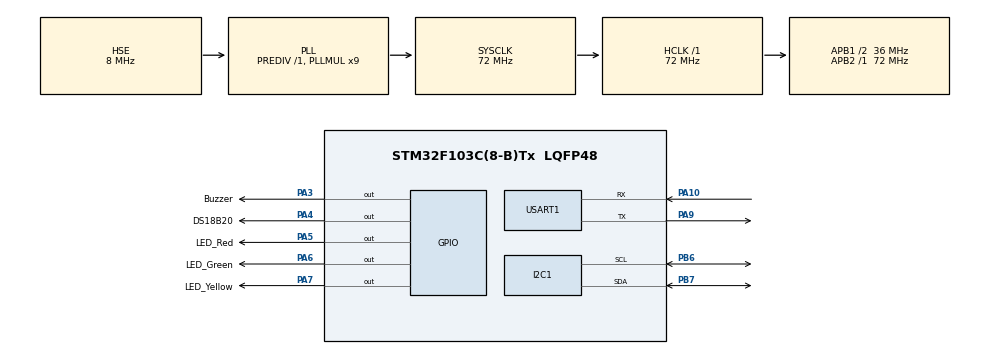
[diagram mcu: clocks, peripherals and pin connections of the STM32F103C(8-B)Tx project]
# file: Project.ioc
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Mcu.Family=STM32F1
Mcu.Name=STM32F103C(8-B)Tx
Mcu.Package=LQFP48
NVIC.PriorityGroup=NVIC_PRIORITYGROUP_4
PA10.Mode=Asynchronous
PA10.Signal=USART1_RX
PA13.Mode=Serial_Wire
PA13.Signal=SYS_JTMS-SWDIO
PA14.Mode=Serial_Wire
PA14.Signal=SYS_JTCK-SWCLK
PA3.GPIO_Label=Buzzer
PA3.GPIO_PuPd=GPIO_PULLDOWN
PA3.GPIO_Speed=GPIO_SPEED_FREQ_LOW
PA3.Signal=GPIO_Output
PA4.GPIO_Label=DS18B20
PA4.GPIO_PuPd=GPIO_PULLUP
PA4.GPIO_Speed=GPIO_SPEED_FREQ_HIGH
PA4.Signal=GPIO_Output
PA5.GPIO_Label=LED_Red
PA5.GPIO_PuPd=GPIO_PULLDOWN
PA5.Signal=GPIO_Output
PA6.GPIO_Label=LED_Green
PA6.GPIO_PuPd=GPIO_PULLDOWN
PA6.Signal=GPIO_Output
PA7.GPIO_Label=LED_Yellow
PA7.GPIO_PuPd=GPIO_PULLDOWN
PA7.Signal=GPIO_Output
PA9.Mode=Asynchronous
PA9.Signal=USART1_TX
PB6.Mode=I2C
PB6.Signal=I2C1_SCL
PB7.Mode=I2C
PB7.Signal=I2C1_SDA
PC14-OSC32_IN.Mode=LSE-External-Oscillator
PC14-OSC32_IN.Signal=RCC_OSC32_IN
PC15-OSC32_OUT.Mode=LSE-External-Oscillator
PC15-OSC32_OUT.Signal=RCC_OSC32_OUT
PD0-OSC_IN.Mode=HSE-External-Oscillator
PD0-OSC_IN.Signal=RCC_OSC_IN
PD1-OSC_OUT.Mode=HSE-External-Oscillator
PD1-OSC_OUT.Signal=RCC_OSC_OUT
ProjectManager.HeapSize=0x200
ProjectManager.StackSize=0x400
ProjectManager.TargetToolchain=MDK-ARM V5.32
RCC.AHBFreq_Value=72000000
RCC.APB1CLKDivider=RCC_HCLK_DIV2
RCC.APB1Freq_Value=36000000
RCC.APB1TimFreq_Value=72000000
RCC.APB2Freq_Value=72000000
RCC.APB2TimFreq_Value=72000000
RCC.HCLKFreq_Value=72000000
RCC.PLLMUL=RCC_PLL_MUL9
RCC.PLLSourceVirtual=RCC_PLLSOURCE_HSE
RCC.SYSCLKFreq_VALUE=72000000
RCC.SYSCLKSource=RCC_SYSCLKSOURCE_PLLCLK
RCC.USBFreq_Value=72000000
USART1.VirtualMode=VM_ASYNC
VP_TIM1_VS_ClockSourceINT.Mode=Internal
board=custom

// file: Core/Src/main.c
/* USER CODE BEGIN Header */
/**
  ******************************************************************************
  * @file           : main.c
  * @brief          : Main program body
  ******************************************************************************
  * @attention
  *
  * Copyright (c) 2023 STMicroelectronics.
  * All rights reserved.
  *
  * This software is licensed under terms that can be found in the LICENSE file
  * in the root directory of this software component.
  * If no LICENSE file comes with this software, it is provided AS-IS.
  *
  ******************************************************************************
  */
/* USER CODE END Header */
#include "main.h"
#include "i2c.h"
#include "tim.h"
#include "usart.h"
#include "gpio.h"

/* USER CODE BEGIN Includes */
#include "stdio.h"
#include "oled.h"
#include "ds18b20.h"
#include "buzzer.h"
#include "light.h"
/* USER CODE END Includes */

void SystemClock_Config(void);

int main(void)
{
  /* USER CODE BEGIN 1 */
	uint8_t x = 0;
	uint8_t y = 0;
	float tempratureValue;
	uint8_t tempratureValueInteger;
	uint8_t tempratureValueDecimal;
	uint8_t tempratureLimitHigh = 60;
	uint8_t tempratureLimitLow = 10;
  /* USER CODE END 1 */

  /* MCU Configuration--------------------------------------------------------*/

  /* Reset of all peripherals, Initializes the Flash interface and the Systick. */
  HAL_Init();

  /* Configure the system clock */
  SystemClock_Config();

  /* Initialize all configured peripherals */
  MX_GPIO_Init();
  MX_I2C1_Init();
  MX_TIM1_Init();
  MX_USART1_UART_Init();
  /* USER CODE BEGIN 2 */
	OLED_Init();
	OLED_Clear();
	OLED_ShowChinese(x + 16 * 1, y, 0);
	OLED_ShowChinese(x + 16 * 2, y, 1);
	OLED_ShowChinese(x + 16 * 3, y, 2);
	OLED_ShowChinese(x + 16 * 4, y, 3);
	OLED_ShowChinese(x + 16 * 5, y, 4);
	OLED_ShowChinese(x + 16 * 6, y, 5);
	OLED_ShowChinese(x, y + 2 * 2, 6);
	OLED_ShowChinese(x + 16 * 1, y + 2 * 2, 7);
	OLED_ShowChinese(x + 16 * 2, y + 2 * 2, 0);
	OLED_ShowChinese(x + 16 * 3, y + 2 * 2, 1);
	OLED_ShowChar(x + 16 * 4, y + 2 * 2, ':', 16);

	printf("Hello\r\n");
  /* USER CODE END 2 */

  /* Infinite loop */
  /* USER CODE BEGIN WHILE */
  while (1)
  {
		tempratureValue = DS18B20_GetTemperture();
		tempratureValueInteger = (int)tempratureValue;
		tempratureValueDecimal = 10 * (tempratureValue - (int)tempratureValue);

		OLED_ShowNum(x + 16 * 4 + 8 * 1, y + 2 * 2, tempratureValueInteger, 2, 16);
		OLED_ShowChar(x + 16 * 5 + 8 * 1, y + 2 * 2, '.', 16);
		OLED_ShowNum(x + 16 * 5 + 8 * 2, y + 2 * 2, tempratureValueDecimal, 1, 16);
		OLED_ShowChar(x + 16 * 5 + 8 * 3, y + 2 * 2, 'C', 16);

		if(tempratureValue>tempratureLimitHigh)
		{
			redLight();
			buzzerWarning();
		}
		else if(tempratureValue<tempratureLimitLow)
		{
			yellowLight();
			buzzerWarning();
		}
		else
		{
			greenLight();
			stopBuzzer();
		}
    /* USER CODE END WHILE */

  }
}

void SystemClock_Config(void)
{
  RCC_OscInitTypeDef RCC_OscInitStruct = {0};
  RCC_ClkInitTypeDef RCC_ClkInitStruct = {0};

  /** Initializes the RCC Oscillators according to the specified parameters
  * in the RCC_OscInitTypeDef structure.
  */
  RCC_OscInitStruct.OscillatorType = RCC_OSCILLATORTYPE_HSE;
  RCC_OscInitStruct.HSEState = RCC_HSE_ON;
  RCC_OscInitStruct.HSEPredivValue = RCC_HSE_PREDIV_DIV1;
  RCC_OscInitStruct.HSIState = RCC_HSI_ON;
  RCC_OscInitStruct.PLL.PLLState = RCC_PLL_ON;
  RCC_OscInitStruct.PLL.PLLSource = RCC_PLLSOURCE_HSE;
  RCC_OscInitStruct.PLL.PLLMUL = RCC_PLL_MUL9;
  if (HAL_RCC_OscConfig(&RCC_OscInitStruct) != HAL_OK)
  {
    Error_Handler();
  }

  /** Initializes the CPU, AHB and APB buses clocks
  */
  RCC_ClkInitStruct.ClockType = RCC_CLOCKTYPE_HCLK|RCC_CLOCKTYPE_SYSCLK
                              |RCC_CLOCKTYPE_PCLK1|RCC_CLOCKTYPE_PCLK2;
  RCC_ClkInitStruct.SYSCLKSource = RCC_SYSCLKSOURCE_PLLCLK;
  RCC_ClkInitStruct.AHBCLKDivider = RCC_SYSCLK_DIV1;
  RCC_ClkInitStruct.APB1CLKDivider = RCC_HCLK_DIV2;
  RCC_ClkInitStruct.APB2CLKDivider = RCC_HCLK_DIV1;

  if (HAL_RCC_ClockConfig(&RCC_ClkInitStruct, FLASH_LATENCY_2) != HAL_OK)
  {
    Error_Handler();
  }
}

void Error_Handler(void)
{
  __disable_irq();
  while (1)
  {
  }
}
